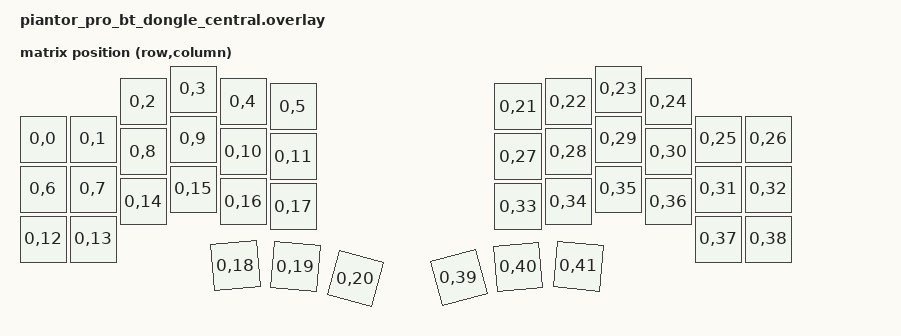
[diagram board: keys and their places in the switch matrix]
#include <physical_layouts.dtsi>
#include <dt-bindings/zmk/matrix_transform.h>
#include <dt-bindings/led/led.h>

/ {
    chosen {
        zmk,kscan = &mock_kscan;
        zmk,physical-layout = &default_layout;
        zephyr,display = &oled;
        zmk,underglow = &led_strip;
    };

    mock_kscan: mock_kscan {
        compatible = "zmk,kscan-mock";
        rows = <0>;
        columns = <0>;
        events = <>;
    };

    default_transform: keymap_transform_0 {
        compatible = "zmk,matrix-transform";
        columns = <42>;
        rows = <1>;
        map = <
            RC(0,0)  RC(0,1)  RC(0,2)  RC(0,3)  RC(0,4)  RC(0,5)  RC(0,21) RC(0,22) RC(0,23) RC(0,24) RC(0,25) RC(0,26)
            RC(0,6)  RC(0,7)  RC(0,8)  RC(0,9)  RC(0,10) RC(0,11) RC(0,27) RC(0,28) RC(0,29) RC(0,30) RC(0,31) RC(0,32)
            RC(0,12) RC(0,13) RC(0,14) RC(0,15) RC(0,16) RC(0,17) RC(0,33) RC(0,34) RC(0,35) RC(0,36) RC(0,37) RC(0,38)
                                       RC(0,18) RC(0,19) RC(0,20) RC(0,39) RC(0,40) RC(0,41)
        >;
    };

    piantor_position_map {
        compatible = "zmk,physical-layout-position-map";
        complete;

        default_map: six_col {
            physical-layout = <&default_layout>;
            positions
                = < 0  1  2  3  4  5  6  7  8  9 10 11>
                , <12 13 14 15 16 17 18 19 20 21 22 23>
                , <24 25 26 27 28 29 30 31 32 33 34 35>
                , <         36 37 38 39 40 41         >;
        };
    };

    default_layout: default_layout {
        compatible = "zmk,physical-layout";
        display-name = "Default Layout";
        transform = <&default_transform>;
        keys  //                     w   h    x    y     rot    rx    ry
            = <&key_physical_attrs 100 100    0  100       0     0     0>
            , <&key_physical_attrs 100 100  100  100       0     0     0>
            , <&key_physical_attrs 100 100  200   25       0     0     0>
            , <&key_physical_attrs 100 100  300    0       0     0     0>
            , <&key_physical_attrs 100 100  400   25       0     0     0>
            , <&key_physical_attrs 100 100  500   35       0     0     0>
            , <&key_physical_attrs 100 100  950   35       0     0     0>
            , <&key_physical_attrs 100 100 1050   25       0     0     0>
            , <&key_physical_attrs 100 100 1150    0       0     0     0>
            , <&key_physical_attrs 100 100 1250   25       0     0     0>
            , <&key_physical_attrs 100 100 1350  100       0     0     0>
            , <&key_physical_attrs 100 100 1450  100       0     0     0>
            , <&key_physical_attrs 100 100    0  200       0     0     0>
            , <&key_physical_attrs 100 100  100  200       0     0     0>
            , <&key_physical_attrs 100 100  200  125       0     0     0>
            , <&key_physical_attrs 100 100  300  100       0     0     0>
            , <&key_physical_attrs 100 100  400  125       0     0     0>
            , <&key_physical_attrs 100 100  500  135       0     0     0>
            , <&key_physical_attrs 100 100  950  135       0     0     0>
            , <&key_physical_attrs 100 100 1050  125       0     0     0>
            , <&key_physical_attrs 100 100 1150  100       0     0     0>
            , <&key_physical_attrs 100 100 1250  125       0     0     0>
            , <&key_physical_attrs 100 100 1350  200       0     0     0>
            , <&key_physical_attrs 100 100 1450  200       0     0     0>
            , <&key_physical_attrs 100 100    0  300       0     0     0>
            , <&key_physical_attrs 100 100  100  300       0     0     0>
            , <&key_physical_attrs 100 100  200  225       0     0     0>
            , <&key_physical_attrs 100 100  300  200       0     0     0>
            , <&key_physical_attrs 100 100  400  225       0     0     0>
            , <&key_physical_attrs 100 100  500  235       0     0     0>
            , <&key_physical_attrs 100 100  950  235       0     0     0>
            , <&key_physical_attrs 100 100 1050  225       0     0     0>
            , <&key_physical_attrs 100 100 1150  200       0     0     0>
            , <&key_physical_attrs 100 100 1250  225       0     0     0>
            , <&key_physical_attrs 100 100 1350  300       0     0     0>
            , <&key_physical_attrs 100 100 1450  300       0     0     0>
            , <&key_physical_attrs 100 100  380  360  (-500)   360   350>
            , <&key_physical_attrs 100 100  510  350     500   500   350>
            , <&key_physical_attrs 100 100  645  370    1500   650   350>
            , <&key_physical_attrs 100 100  810  389 (-1500)   825   350>
            , <&key_physical_attrs 100 100  945  360  (-500)   950   350>
            , <&key_physical_attrs 100 100 1075  350     500  1075   350>
            ;
    };
};

&pinctrl {
    i2c0_default: i2c0_default {
        group1 {
            psels = <NRF_PSEL(TWIM_SDA, 0, 17)>,
                <NRF_PSEL(TWIM_SCL, 0, 20)>;
        };
    };

    i2c0_sleep: i2c0_sleep {
        group1 {
            psels = <NRF_PSEL(TWIM_SDA, 0, 17)>,
                <NRF_PSEL(TWIM_SCL, 0, 20)>;
            low-power-enable;
        };
    };
};

&i2c0 {
    status = "okay";
    compatible = "nordic,nrf-twi";
    pinctrl-0 = <&i2c0_default>;
    pinctrl-1 = <&i2c0_sleep>;
    oled: sh1106@3c {
        compatible = "sinowealth,sh1106";
        reg = <0x3c>;
        width = <128>;
        height = <64>;
        segment-offset = <2>;
        page-offset = <0>;
        display-offset = <0>;
        multiplex-ratio = <63>;
        segment-remap;
        com-invdir;
        inversion-on;
        prechargep = <0x22>;
    };
};

&pinctrl {
    spi3_default: spi3_default {
        group1 {
            psels = <NRF_PSEL(SPIM_MOSI, 1, 4)>;
        };
    };

    spi3_sleep: spi3_sleep {
        group1 {
            psels = <NRF_PSEL(SPIM_MOSI, 1, 4)>;
            low-power-enable;
        };
    };
};

&spi3 {
    compatible = "nordic,nrf-spim";
    status = "okay";
    pinctrl-0 = <&spi3_default>;
    pinctrl-1 = <&spi3_sleep>;
    pinctrl-names = "default", "sleep";

    led_strip: ws2812@0 {
        compatible = "worldsemi,ws2812-spi";
        reg = <0>;
        spi-max-frequency = <4000000>;
        chain-length = <1>;
        spi-one-frame = <0x70>;
        spi-zero-frame = <0x40>;
        color-mapping = <
            LED_COLOR_ID_GREEN
            LED_COLOR_ID_RED
            LED_COLOR_ID_BLUE
        >;
    };
};
